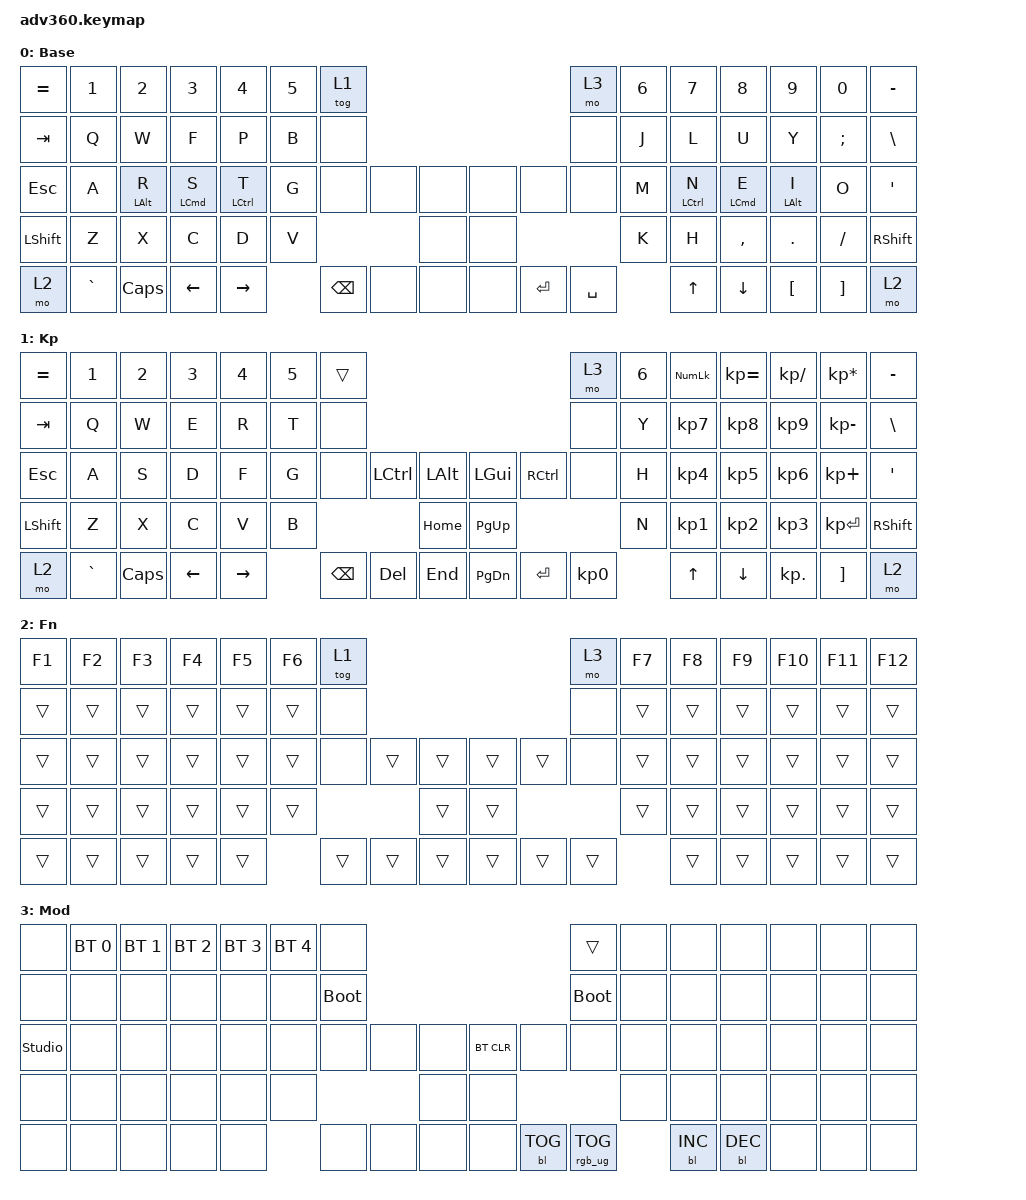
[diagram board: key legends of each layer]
#include <dt-bindings/zmk/stp.h>
#include <behaviors.dtsi>
#include <dt-bindings/zmk/backlight.h>
#include <dt-bindings/zmk/bt.h>
#include <dt-bindings/zmk/keys.h>
#include <dt-bindings/zmk/rgb.h>

/ {
    behaviors {
        #include "macros.dtsi"
        #include "version.dtsi"

        hml: homerow_mods_left {
            compatible = "zmk,behavior-hold-tap";
            label = "HOMEROW_MODS_LEFT";
            #binding-cells = <2>;
            flavor = "balanced";
            tapping-term-ms = <280>;
            quick-tap-ms = <175>;
            require-prior-idle-ms = <150>;
            bindings = <&kp>, <&kp>;

            hold-trigger-key-positions = <
                8 9 10 11 12 13
                22 23 24 25 26 27
                40 41 42 43 44 45
                54 55 56 57 58
                69 70 71 72 73 74 75
            >;

            hold-trigger-on-release;
        };

        hmr: homerow_mods_right {
            compatible = "zmk,behavior-hold-tap";
            label = "HOMEROW_MODS_RIGHT";
            #binding-cells = <2>;
            flavor = "balanced";
            tapping-term-ms = <280>;
            quick-tap-ms = <175>;
            require-prior-idle-ms = <150>;
            bindings = <&kp>, <&kp>;

            hold-trigger-key-positions = <
                1 2 3 4 5
                15 16 17 18 19
                29 30 31 32 33
                47 48 49 50 51
                60 61 62 63 64 65 66
            >;

            hold-trigger-on-release;
        };
    };

    keymap {
        compatible = "zmk,keymap";

        default_layer {
            display-name = "Base";
            bindings = <
&kp EQUAL  &kp N1          &kp N2             &kp N3                &kp N4            &kp N5  &tog 1                                                 &mo 3      &kp N6  &kp N7          &kp N8               &kp N9              &kp N0         &kp MINUS
&kp TAB    &kp Q           &kp W              &kp F                 &kp P             &kp B   &none                                                  &none      &kp J   &kp L           &kp U                &kp Y               &kp SEMICOLON  &kp BSLH
&kp ESC    &kp A &hml LEFT_ALT R &hml LEFT_COMMAND S   &hml LEFT_CONTROL T      &kp G   &none     &none           &none      &none  &none      &none      &kp M   &hmr LEFT_CONTROL N   &hmr LEFT_COMMAND E  &hmr LEFT_ALT I  &kp O  &kp SQT
&kp LSHFT  &kp Z           &kp X              &kp C                 &kp D             &kp V                             &none      &none                        &kp K   &kp H           &kp COMMA            &kp DOT             &kp FSLH       &kp RSHFT
&mo 2      &kp GRAVE       &kp CAPS           &kp LEFT              &kp RIGHT                 &kp BSPC  &none  &none      &none  &kp ENTER  &kp SPACE          &kp UP          &kp DOWN             &kp LBKT            &kp RBKT       &mo 2
            >;
        };

        keypad {
            display-name = "Kp";
            bindings = <
&kp EQUAL  &kp N1     &kp N2    &kp N3    &kp N4     &kp N5  &trans                                                   &mo 3      &kp N6  &kp KP_NUM  &kp KP_EQUAL  &kp KP_DIVIDE  &kp KP_MULTIPLY  &kp MINUS
&kp TAB    &kp Q      &kp W     &kp E     &kp R      &kp T   &none                                                    &none      &kp Y   &kp KP_N7   &kp KP_N8     &kp KP_N9      &kp KP_MINUS     &kp BSLH
&kp ESC    &kp A      &kp S     &kp D     &kp F      &kp G   &none     &kp LCTRL  &kp LALT      &kp LGUI   &kp RCTRL  &none      &kp H   &kp KP_N4   &kp KP_N5     &kp KP_N6      &kp KP_PLUS      &kp SQT
&kp LSHFT  &kp Z      &kp X     &kp C     &kp V      &kp B                        &kp HOME      &kp PG_UP                        &kp N   &kp KP_N1   &kp KP_N2     &kp KP_N3      &kp KP_ENTER     &kp RSHFT
&mo 2      &kp GRAVE  &kp CAPS  &kp LEFT  &kp RIGHT          &kp BSPC  &kp DEL    &kp END       &kp PG_DN  &kp ENTER  &kp KP_N0          &kp UP      &kp DOWN      &kp KP_DOT     &kp RBKT         &mo 2
            >;
        };

        fn {
            display-name = "Fn";
            bindings = <
&kp F1  &kp F2  &kp F3  &kp F4  &kp F5  &kp F6  &tog 1                                      &mo 3   &kp F7  &kp F8  &kp F9  &kp F10  &kp F11  &kp F12
&trans  &trans  &trans  &trans  &trans  &trans  &none                                       &none   &trans  &trans  &trans  &trans   &trans   &trans
&trans  &trans  &trans  &trans  &trans  &trans  &none   &trans  &trans      &trans  &trans  &none   &trans  &trans  &trans  &trans   &trans   &trans
&trans  &trans  &trans  &trans  &trans  &trans                  &trans      &trans                  &trans  &trans  &trans  &trans   &trans   &trans
&trans  &trans  &trans  &trans  &trans          &trans  &trans  &trans      &trans  &trans  &trans          &trans  &trans  &trans   &trans   &trans
            >;
        };

        mod {
            display-name = "Mod";
            bindings = <
&none           &bt BT_SEL 0  &bt BT_SEL 1  &bt BT_SEL 2  &bt BT_SEL 3  &bt BT_SEL 4  &none                                                  &trans           &none  &none       &none       &none  &none  &none
&none           &none         &none         &none         &none         &none         &bootloader                                            &bootloader      &none  &none       &none       &none  &none  &none
&studio_unlock  &none         &none         &none         &none         &none         &none        &none  &none      &bt BT_CLR  &none       &none            &none  &none       &none       &none  &none  &none
&none           &none         &none         &none         &none         &none                             &none      &none                                    &none  &none       &none       &none  &none  &none
&none           &none         &none         &none         &none                       &none        &none  &none      &none       &bl BL_TOG  &rgb_ug RGB_TOG         &bl BL_INC  &bl BL_DEC  &none  &none  &none
            >;
        };
    };
};
